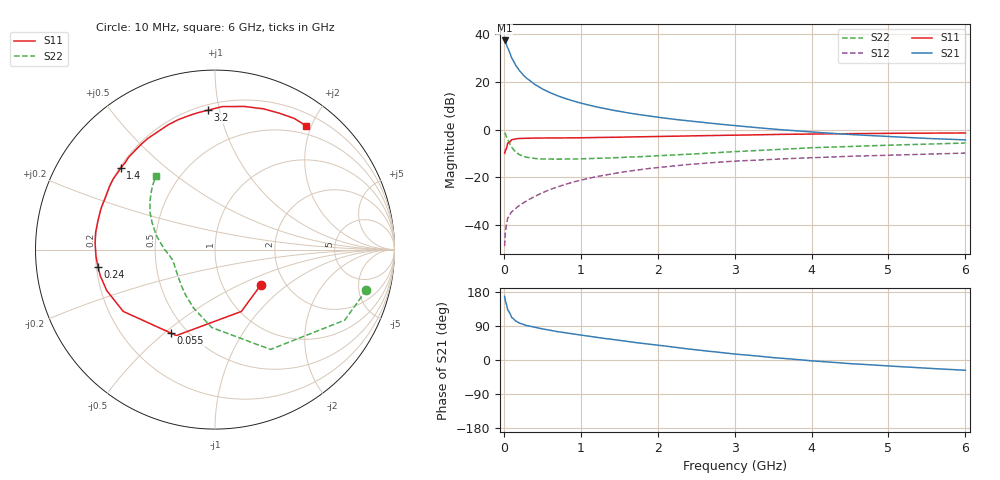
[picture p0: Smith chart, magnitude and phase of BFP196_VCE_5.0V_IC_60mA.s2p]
! Infineon Technologies  Discrete & RF Semiconductors
! BFP196
! VCE = 5.0 V,  IC =  60mA
! Common Emitter S-Parameters:  Jan 2016
# GHz  S  MA  R  50
!  f  S11  S21  S12  S22
! GHz  MAG  ANG  MAG  ANG  MAG  ANG  MAG  ANG
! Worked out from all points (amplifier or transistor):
!   210 points, 10 MHz to 6 GHz, reference 50 ohm
!   highest |S21| = 37.5 dB at 10 MHz (marker M1)
!   |S21| within 3 dB of that: start of sweep to 49.03 MHz
!   unconditionally stable (mu >= 1): 454 MHz to 4.443 GHz
!   at 185 MHz: K = 0.74, MSG = 29.0 dB, |S12| = -32.3 dB
!   at 1.52 GHz: K = 1.08, MAG = 11.0 dB, |S12| = -17.9 dB
!   at 6 GHz: K = 0.97, MSG = 2.8 dB, |S12| = -9.8 dB
!   S11 on the Smith chart (normalised r, x): 10 MHz: 1.51, -0.67; 55 MHz: 0.41, -0.53; 240 MHz: 0.21, -0.07; 1.4 GHz: 0.20, +0.36; 3.2 GHz: 0.23, +0.92; 6 GHz: 0.37, +1.93
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0.01  0.3225 -37.9  74.82 168.0  0.0036 80.0  0.873 -14.9
0.02  0.3746 -66.9  69.81 156.1  0.0073 70.2  0.823 -28.5
0.05  0.5251 -114.2  52.57 132.3  0.0139 55.4  0.6366 -60.9
0.055  0.526 -117.8  50.41 131.1  0.0144 54.5  0.6104 -63.0
0.1  0.6167 -146.1  32.76 112.7  0.0188 48.6  0.4346 -92.4
0.15  0.6449 -159.3  23 103.3  0.022 49.2  0.3454 -110.5
0.2  0.6556 -167.1  17.64 97.6  0.0255 52.9  0.3021 -122.7
0.24  0.6587 -171.7  14.85 94.5  0.0282 54.6  0.2816 -129.9
0.26  0.6606 -173.7  13.7 93.1  0.0296 55.6  0.2744 -133.1
0.3  0.664 -176.7  11.88 90.7  0.0324 57.7  0.2644 -138.1
0.4  0.6694 176.6  8.989 86.2  0.0395 60.4  0.2497 -147.5
0.5  0.672 171.8  7.197 82.2  0.0476 62.1  0.2436 -153.6
0.6  0.6717 167.3  6 78.4  0.0554 63.2  0.2419 -157.6
0.7  0.673 163.1  5.156 74.7  0.0635 63.0  0.2416 -160.9
1.02  0.6804 151.3  3.559 65.2  0.089 61.1  0.2453 -167.6
1.4  0.6949 139.0  2.595 54.7  0.1183 56.6  0.2563 -173.0
2.02  0.7235 121.1  1.814 38.7  0.1622 47.7  0.285 178.5
3.1  0.7727 94.9  1.179 14.1  0.2232 31.8  0.3529 162.4
3.2  0.7776 92.9  1.14 12.3  0.2273 30.3  0.3599 160.9
4.1  0.8161 76.9  0.875 -3.5  0.2625 19.1  0.4243 148.7
5.1  0.8424 63.5  0.708 -16.9  0.2955 7.9  0.4789 137.9
6  0.8563 53.5  0.613 -27.1  0.3236 -2.0  0.526 128.7
